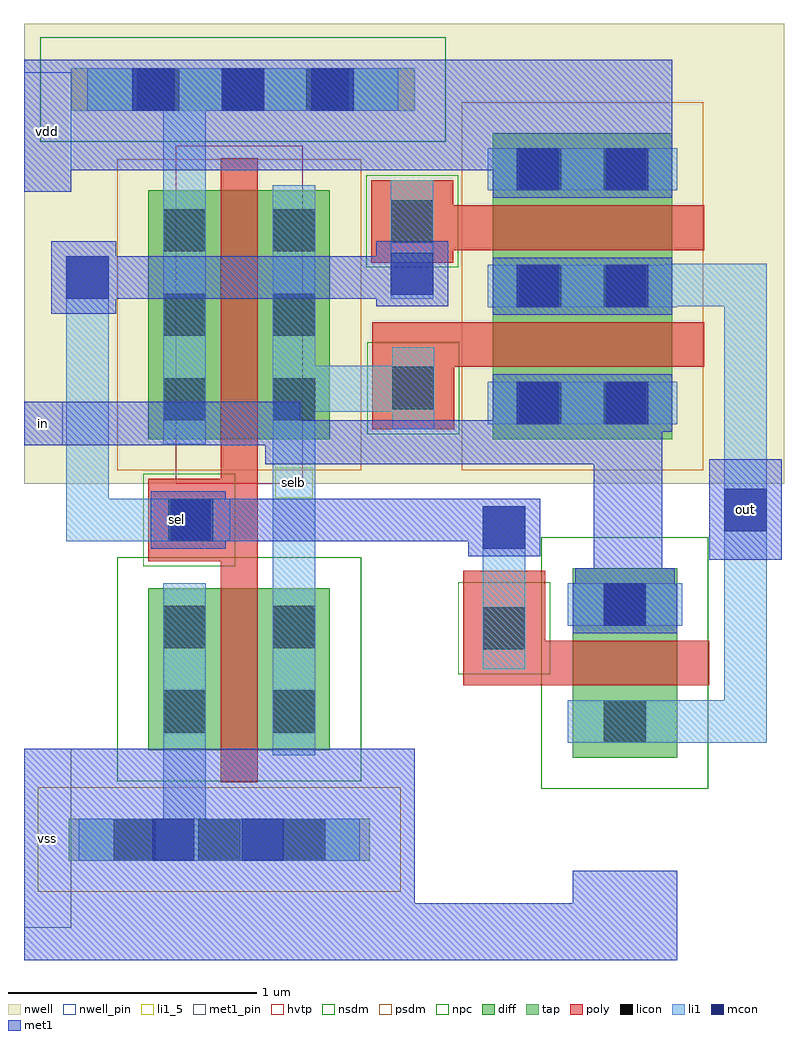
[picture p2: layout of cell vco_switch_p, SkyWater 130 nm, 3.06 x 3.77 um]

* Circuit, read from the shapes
.subckt vco_switch_p in out sel selb vdd vss
XM1 selb sel vss vss sky130_fd_pr__nfet_01v8 w=0.65 l=0.15
XM2 in sel out vss sky130_fd_pr__nfet_01v8 w=0.42 l=0.18
XM3 selb sel vdd vdd sky130_fd_pr__pfet_01v8_hvt w=1 l=0.15
XM4 out selb in vdd sky130_fd_pr__pfet_01v8 w=0.72 l=0.18
XM5 vdd sel out vdd sky130_fd_pr__pfet_01v8 w=0.72 l=0.18
.ends

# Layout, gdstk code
from math import pi, radians
import gdstk
lib = gdstk.Library(unit=1e-6, precision=1e-09)
def R(c, l, rs):  # rectangles x0, y0, x1, y1
    for r in rs: c.add(gdstk.rectangle(r[:2], r[2:], *l))
def A(c, l, x, y, w, h, nx, ny, dx, dy):  # array of equal rectangles
    R(c, l, [(x+i*dx, y+j*dy, x+i*dx+w, y+j*dy+h) for i in range(nx) for j in range(ny)])
nwell_pin = (64, 16)
nwell = (64, 20)
diff = (65, 20)
tap = (65, 44)
poly = (66, 20)
licon = (66, 44)
li1_5 = (67, 5)
li1 = (67, 20)
mcon = (67, 44)
met1_pin = (68, 16)
met1 = (68, 20)
hvtp = (78, 44)
nsdm = (93, 44)
psdm = (94, 20)
npc = (95, 20)

sky130_fd_pr__nfet_01v8_ = lib.new_cell('sky130_fd_pr__nfet_01v8_M34CP3')
R(sky130_fd_pr__nfet_01v8_, diff, [(-0.365,-0.48,0.365,0.17)])
R(sky130_fd_pr__nfet_01v8_, poly, [(-0.075,-0.61,0.075,0.28), (-0.365,0.28,0.075,0.61)])
R(sky130_fd_pr__nfet_01v8_, licon, [(-0.305,-0.41,-0.135,-0.24), (0.135,-0.41,0.305,-0.24), (-0.305,-0.07,-0.135,0.1), (0.135,-0.07,0.305,0.1), (-0.285,0.36,-0.115,0.53)])
R(sky130_fd_pr__nfet_01v8_, li1, [(-0.305,-0.5,-0.135,0.19), (0.135,-0.5,0.305,0.19), (-0.365,0.36,-0.035,0.53)])
R(sky130_fd_pr__nfet_01v8_, nsdm, [(-0.49,-0.605,0.49,0.295)])
R(sky130_fd_pr__nfet_01v8_, npc, [(-0.385,0.26,-0.015,0.63)])

sky130_fd_pr__pfet_01v8_ = lib.new_cell('sky130_fd_pr__pfet_01v8_hvt_N83GLL')
R(sky130_fd_pr__pfet_01v8_, nwell, [(-0.545,-0.68,0.545,0.81)])
R(sky130_fd_pr__pfet_01v8_, diff, [(-0.365,-0.5,0.365,0.5)])
R(sky130_fd_pr__pfet_01v8_, poly, [(-0.075,-0.66,0.075,0.63)])
A(sky130_fd_pr__pfet_01v8_, licon, -0.305, -0.425, 0.17, 0.17, 1, 3, 0, 0.34)
A(sky130_fd_pr__pfet_01v8_, licon, 0.135, -0.425, 0.17, 0.17, 1, 3, 0, 0.34)
R(sky130_fd_pr__pfet_01v8_, li1, [(-0.305,-0.52,-0.135,0.52), (0.135,-0.52,0.305,0.52)])
R(sky130_fd_pr__pfet_01v8_, hvtp, [(-0.255,-0.68,0.255,0.68)])
R(sky130_fd_pr__pfet_01v8_, psdm, [(-0.49,-0.625,0.49,0.625)])

c_sky130_fd_pr__pfet_01v8_ = lib.new_cell('sky130_fd_pr__pfet_01v8_ACAZ2B_v2')
R(c_sky130_fd_pr__pfet_01v8_, nwell, [(-0.56,-0.85,0.56,0.68)])
R(c_sky130_fd_pr__pfet_01v8_, diff, [(-0.38,-0.54,0.38,0.18)])
R(c_sky130_fd_pr__pfet_01v8_, poly, [(-0.09,-0.67,0.09,0.335), (-0.34,0.335,0.09,0.665)])
R(c_sky130_fd_pr__pfet_01v8_, licon, [(-0.32,-0.435,-0.15,-0.265), (0.15,-0.435,0.32,-0.265), (-0.32,-0.095,-0.15,0.075), (0.15,-0.095,0.32,0.075), (-0.26,0.415,-0.09,0.585)])
R(c_sky130_fd_pr__pfet_01v8_, li1, [(-0.32,-0.56,-0.15,0.2), (0.15,-0.56,0.32,0.2), (-0.34,0.415,-0.01,0.585)])
R(c_sky130_fd_pr__pfet_01v8_, mcon, [(-0.32,-0.445,-0.15,-0.275), (0.15,-0.445,0.32,-0.275), (-0.32,-0.085,-0.15,0.085), (0.15,-0.085,0.32,0.085)])
R(c_sky130_fd_pr__pfet_01v8_, met1, [(-0.35,-0.54,-0.12,0.18), (0.12,-0.54,0.35,0.18)])
R(c_sky130_fd_pr__pfet_01v8_, psdm, [(-0.505,-0.665,0.505,0.305)])
R(c_sky130_fd_pr__pfet_01v8_, npc, [(-0.36,0.315,0.01,0.685)])

c_sky130_fd_pr__pfet_01v8__ = lib.new_cell('sky130_fd_pr__pfet_01v8_5YXW2B')
R(c_sky130_fd_pr__pfet_01v8__, nwell, [(-0.56,-0.67,0.56,0.67)])
R(c_sky130_fd_pr__pfet_01v8__, diff, [(-0.38,-0.36,0.38,0.36)])
R(c_sky130_fd_pr__pfet_01v8__, poly, [(-0.09,-0.49,0.09,0.49)])
R(c_sky130_fd_pr__pfet_01v8__, licon, [(-0.32,-0.255,-0.15,-0.085), (0.15,-0.255,0.32,-0.085), (-0.32,0.085,-0.15,0.255), (0.15,0.085,0.32,0.255)])
R(c_sky130_fd_pr__pfet_01v8__, li1, [(-0.32,-0.38,-0.15,0.38), (0.15,-0.38,0.32,0.38)])
R(c_sky130_fd_pr__pfet_01v8__, mcon, [(-0.32,-0.265,-0.15,-0.095), (0.15,-0.265,0.32,-0.095), (-0.32,0.095,-0.15,0.265), (0.15,0.095,0.32,0.265)])
R(c_sky130_fd_pr__pfet_01v8__, met1, [(-0.35,-0.36,-0.12,0.36), (0.12,-0.36,0.35,0.36)])
R(c_sky130_fd_pr__pfet_01v8__, psdm, [(-0.505,-0.485,0.505,0.485)])

c_sky130_fd_pr__nfet_01v8_ = lib.new_cell('sky130_fd_pr__nfet_01v8_HGTGXE_v2')
R(c_sky130_fd_pr__nfet_01v8_, diff, [(-0.38,-0.365,0.38,0.055)])
R(c_sky130_fd_pr__nfet_01v8_, poly, [(-0.09,-0.495,0.09,0.165), (-0.09,0.165,0.37,0.495)])
R(c_sky130_fd_pr__nfet_01v8_, licon, [(-0.32,-0.24,-0.15,-0.07), (0.15,-0.24,0.32,-0.07), (0.055,0.245,0.225,0.415)])
R(c_sky130_fd_pr__nfet_01v8_, li1, [(-0.32,-0.385,-0.15,0.075), (0.15,-0.385,0.32,0.075), (-0.025,0.245,0.305,0.415)])
R(c_sky130_fd_pr__nfet_01v8_, nsdm, [(-0.505,-0.49,0.505,0.18)])
R(c_sky130_fd_pr__nfet_01v8_, npc, [(-0.045,0.145,0.325,0.515)])

vco_switch_p = lib.new_cell('vco_switch_p')
R(vco_switch_p, nwell_pin, [(1.88,5.4,2.07,5.88)])
R(vco_switch_p, nwell, [(1.88,4.225,4.66,4.76), (4.67,4.225,4.935,4.76), (1.88,4.76,4.935,6.075)])
R(vco_switch_p, tap, [(2.06,2.71,3.27,2.88), (2.07,5.725,3.45,5.895)])
R(vco_switch_p, poly, [(3.275,5.115,3.605,5.165), (3.275,5.165,3.635,5.345), (3.275,5.345,3.605,5.445)])
A(vco_switch_p, licon, 2.24, 2.71, 0.17, 0.17, 3, 1, 0.34, 0)
A(vco_switch_p, licon, 2.335, 5.725, 0.17, 0.17, 3, 1, 0.34, 0)
R(vco_switch_p, licon, [(3.355,5.195,3.525,5.365)])
R(vco_switch_p, li1_5, [(2.89,4.17,3.04,4.29)])
R(vco_switch_p, li1, [(2.1,2.71,3.23,2.88), (2.44,2.88,2.61,3.135), (4.495,3.185,4.865,3.355), (4.695,3.355,4.865,4.94), (4.145,3.655,4.445,3.825), (3.725,3.725,3.895,4.135), (2.88,3.825,3.05,4.385), (2.05,3.995,2.64,4.165), (2.05,4.165,2.22,5.14), (3.05,4.515,3.495,4.7), (4.455,4.94,4.865,5.11), (3.355,4.97,3.525,5.445), (2.44,5.425,2.61,5.725), (2.135,5.725,3.385,5.895)])
A(vco_switch_p, mcon, 2.315, 5.725, 0.17, 0.17, 3, 1, 0.36, 0)
R(vco_switch_p, mcon, [(2.395,2.71,2.565,2.88), (2.755,2.71,2.925,2.88), (4.21,3.655,4.38,3.825), (3.725,3.965,3.895,4.135), (2.47,3.995,2.64,4.165), (4.695,4.035,4.865,4.205), (2.05,4.97,2.22,5.14), (3.355,4.985,3.525,5.155)])
R(vco_switch_p, met1_pin, [(1.88,2.44,2.07,3.16), (4.635,3.92,4.925,4.325), (2.39,3.965,2.6,4.195), (1.88,4.38,2.035,4.555)])
R(vco_switch_p, met1, [(1.88,2.31,4.505,2.54), (1.88,2.54,3.45,3.16), (4.085,2.54,4.505,2.67), (4.085,3.625,4.505,3.82), (4.085,3.82,4.495,3.825), (4.095,3.825,4.495,3.885), (4.17,3.885,4.445,4.305), (4.635,3.92,4.925,4.325), (3.665,3.935,3.955,3.995), (2.39,3.965,2.69,3.995), (2.39,3.995,3.955,4.165), (2.39,4.165,2.69,4.195), (2.85,4.305,4.445,4.38), (1.88,4.38,4.445,4.48), (1.88,4.48,2.99,4.555), (1.99,4.91,2.25,4.97), (3.295,4.94,3.585,4.97), (1.99,4.97,3.585,5.14), (1.99,5.14,2.25,5.2), (3.295,5.14,3.585,5.2), (1.88,5.4,2.07,5.485), (1.88,5.485,4.485,5.93)])
R(vco_switch_p, nsdm, [(1.945,5.6,3.575,6.02)])
R(vco_switch_p, psdm, [(1.935,2.585,3.395,3.005)])
R(vco_switch_p, npc, [(3.255,5.095,3.625,5.465)])
vco_switch_p.add(gdstk.Reference(sky130_fd_pr__nfet_01v8_, (2.745,3.635)))
vco_switch_p.add(gdstk.Reference(sky130_fd_pr__pfet_01v8_, (2.745,4.905)))
vco_switch_p.add(gdstk.Reference(c_sky130_fd_pr__pfet_01v8_, (3.945,4.785), rotation=pi/2))
vco_switch_p.add(gdstk.Reference(c_sky130_fd_pr__pfet_01v8__, (4.125,5.255), rotation=pi/2))
vco_switch_p.add(gdstk.Reference(c_sky130_fd_pr__nfet_01v8_, (4.14,3.505), rotation=pi/2))
vco_switch_p.add(gdstk.Label('selb', (2.965,4.23), layer=67, texttype=5))
vco_switch_p.add(gdstk.Label('in', (1.957,4.467), layer=68, texttype=16))
vco_switch_p.add(gdstk.Label('sel', (2.495,4.08), layer=68, texttype=16))
vco_switch_p.add(gdstk.Label('out', (4.78,4.122), layer=68, texttype=16))
vco_switch_p.add(gdstk.Label('vss', (1.975,2.8), layer=68, texttype=16))
vco_switch_p.add(gdstk.Label('vdd', (1.975,5.64), layer=64, texttype=16))

lib.write_gds('vco_switch_p.gds')
